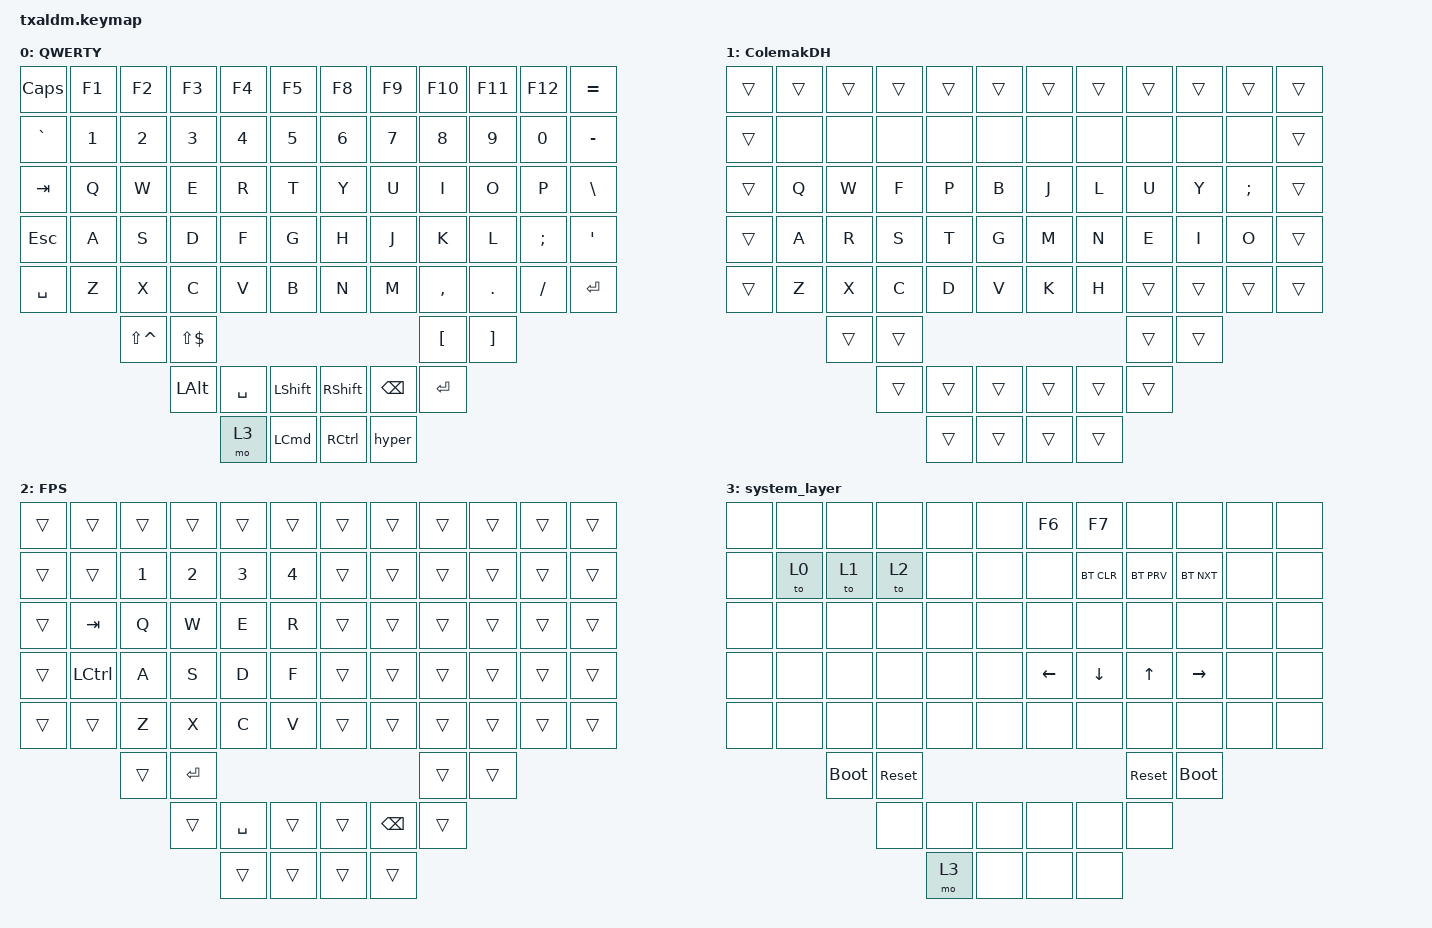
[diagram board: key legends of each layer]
/*
 * Copyright (c) 2020 The ZMK Contributors
 *
 * SPDX-License-Identifier: MIT
 */

#include <behaviors.dtsi>
#include <dt-bindings/zmk/keys.h>
#include <dt-bindings/zmk/bt.h>

/* &lt {*/
/*     tapping-term-ms = <175>; */
/* }; */

/ {
    macros {
        hyper: hyper {
            compatible = "zmk,behavior-macro";
            label = "HYPER";
            #binding-cells = <0>;
            bindings = <&kp LALT &kp LCTRL &kp LEFT_CONTROL>;
        };
    };

    keymap {
        compatible = "zmk,keymap";

        QWERTY {
            bindings = <
&kp CAPSLOCK  &kp F1         &kp F2        &kp F3     &kp F4            &kp F5           &kp F8         &kp F9           &kp F10            &kp F11       &kp F12  &kp EQUAL
   &kp GRAVE  &kp N1         &kp N2        &kp N3     &kp N4            &kp N5           &kp N6         &kp N7            &kp N8             &kp N9  &kp NUMBER_0  &kp MINUS
     &kp TAB   &kp Q          &kp W         &kp E      &kp R             &kp T            &kp Y          &kp U             &kp I              &kp O         &kp P   &kp BSLH
     &kp ESC   &kp A          &kp S         &kp D      &kp F             &kp G            &kp H          &kp J             &kp K              &kp L      &kp SEMI   &kp APOS
   &kp SPACE   &kp Z          &kp X         &kp C      &kp V             &kp B            &kp N          &kp M         &kp COMMA            &kp DOT     &kp SLASH  &kp ENTER
                      &kp LS(CARET)  &kp LS(DLLR)                                                               &kp LEFT_BRACKET  &kp RIGHT_BRACKET
                                     &kp LEFT_ALT  &kp SPACE    &kp LEFT_SHIFT  &kp RIGHT_SHIFT  &kp BACKSPACE         &kp ENTER
                                                       &mo 3  &kp LEFT_COMMAND        &kp RCTRL         &hyper
            >;
        };

        ColemakDH {
            bindings = <
&trans  &trans  &trans  &trans  &trans  &trans  &trans  &trans  &trans  &trans    &trans  &trans
&trans   &none   &none   &none   &none   &none   &none   &none   &none   &none     &none  &trans
&trans   &kp Q   &kp W   &kp F   &kp P   &kp B   &kp J   &kp L   &kp U   &kp Y  &kp SEMI  &trans
&trans   &kp A   &kp R   &kp S   &kp T   &kp G   &kp M   &kp N   &kp E   &kp I     &kp O  &trans
&trans   &kp Z   &kp X   &kp C   &kp D   &kp V   &kp K   &kp H  &trans  &trans    &trans  &trans
                &trans  &trans                                  &trans  &trans
                        &trans  &trans  &trans  &trans  &trans  &trans
                                &trans  &trans  &trans  &trans
            >;
        };

        FPS {
            bindings = <
&trans            &trans  &trans   &trans     &trans  &trans  &trans    &trans  &trans  &trans  &trans  &trans
&trans            &trans  &kp N1   &kp N2     &kp N3  &kp N4  &trans    &trans  &trans  &trans  &trans  &trans
&trans           &kp TAB   &kp Q    &kp W      &kp E   &kp R  &trans    &trans  &trans  &trans  &trans  &trans
&trans  &kp LEFT_CONTROL   &kp A    &kp S      &kp D   &kp F  &trans    &trans  &trans  &trans  &trans  &trans
&trans            &trans   &kp Z    &kp X      &kp C   &kp V  &trans    &trans  &trans  &trans  &trans  &trans
                          &trans  &kp RET                                       &trans  &trans
                                   &trans  &kp SPACE  &trans  &trans  &kp BSPC  &trans
                                              &trans  &trans  &trans    &trans
            >;
        };

        system_layer {
            bindings = <
&none  &none        &none       &none  &none  &none    &kp F6      &kp F7       &none        &none  &none  &none
&none  &to 0        &to 1       &to 2  &none  &none     &none  &bt BT_CLR  &bt BT_PRV   &bt BT_NXT  &none  &none
&none  &none        &none       &none  &none  &none     &none       &none       &none        &none  &none  &none
&none  &none        &none       &none  &none  &none  &kp LEFT    &kp DOWN      &kp UP    &kp RIGHT  &none  &none
&none  &none        &none       &none  &none  &none     &none       &none       &none        &none  &none  &none
              &bootloader  &sys_reset                                      &sys_reset  &bootloader
                                &none  &none  &none     &none       &none       &none
                                       &mo 3  &none     &none       &none
            >;
        };

        // Numbers and punctuations each on separate row
        // num_punc_layer {
        //     bindings = <
        //         &kp EXCL      &kp AT  &kp HASH  &kp DLLR     &kp PRCNT        &kp CARET        &kp AMPS     &kp STAR  &kp LPAR  &kp RPAR
        //         &lp LCTRL N1  &kp N2  &kp N3    &ht LGUI N4  &kp N5           &kp N6           &ht LGUI N7  &kp N8    &kp N9    &ht LCTRL N0
        //         &kp LSFT      &none   &none     &none        &none            &none            &none        &trans    &trans    &trans
        //                                         &mo 4        &trans           &thm LALT SPACE  &trans
        //         >;
        // };
        // nav_sys_layer {
        //     bindings = <
        //         &ht LGUI F9   &kp F10  &kp F11  &kp F12  &kp PSCRN        &kp HOME    &kp PG_DN     &kp PG_UP     &kp END       &kp LGUI
        //         &lp LCTRL F5  &kp F6   &kp F7   &kp F8   &none            &kp LEFT    &kp DOWN      &kp UP        &kp RIGHT     &kp LCTRL
        //         &ht LSFT F1   &kp F2   &kp F3   &kp F4   &tog 3           &kp C_MUTE  &kp C_VOL_DN  &kp C_VOL_UP  &none         &kp LSFT
        //                                         &tog 2   &trans           &trans      &trans
        //         >;
        // };
        // nav_numpad_layer {
        //     bindings = <
        //         &none    &kp HOME  &kp UP    &kp PG_UP  &none            &kp FSLH  &kp N7  &kp N8  &kp N9  &kp MINUS
        //         &kp END  &kp LEFT  &kp DOWN  &kp RIGHT  &kp PG_DN        &kp STAR  &kp N4  &kp N5  &kp N6  &kp PLUS
        //         &none    &none     &none     &none      &tog 3           &kp N0    &kp N1  &kp N2  &kp N3  &kp DOT
        //                                      &mo 4      &trans           &kp BSPC  &none
        //         >;
        // };
        // adj_layer {
        //     bindings = <
        //         &none         &none         &none         &none         &bt BT_CLR          &none   &none   &none  &none  &none
        //         &bt BT_SEL 0  &bt BT_SEL 1  &bt BT_SEL 2  &bt BT_SEL 3  &bt BT_SEL 4        &none   &none   &none  &none  &none
        //         &none         &none         &none         &none         &none               &none   &none   &none  &none  &none
        //                                                   &mo 4         &bootloader         &none   &bootloader
        //         >;
        // };
    };

    // combos {
    //     compatible = "zmk,combos";
    //     // Punctuation
    //     combo_equal {
    //         timeout-ms = <50>;
    //         key-positions = <0 1>;
    //         layers = <0 1>;
    //         bindings = <&kp EQUAL>;
    //     };
    //     combo_plus {
    //         timeout-ms = <50>;
    //         key-positions = <1 12>;
    //         layers = <0 1>;
    //         bindings = <&kp PLUS>;
    //     };
    //     combo_minus {
    //         timeout-ms = <50>;
    //         key-positions = <8 9>;
    //         layers = <0 1>;
    //         bindings = <&kp MINUS>;
    //     };
    //     combo_under_score {
    //         timeout-ms = <50>;
    //         key-positions = <8 17>;
    //         layers = <0 1>;
    //         bindings = <&kp UNDER>;
    //     };
    //     combo_left_bracket {
    //         timeout-ms = <50>;
    //         key-positions = <2 13>;
    //         layers = <0>;
    //         bindings = <&kp LBKT>;
    //     };
    //     combo_left_brace {
    //         timeout-ms = <50>;
    //         key-positions = <3 14>;
    //         layers = <0>;
    //         bindings = <&kp LBRC>;
    //     };
    //     combo_right_brace {
    //         timeout-ms = <50>;
    //         key-positions = <6 15>;
    //         layers = <0>;
    //         bindings = <&kp RBRC>;
    //     };
    //     combo_right_bracket {
    //         timeout-ms = <50>;
    //         key-positions = <7 16>;
    //         layers = <0>;
    //         bindings = <&kp RBKT>;
    //     };
    //     combo_tilde {
    //         timeout-ms = <50>;
    //         key-positions = <20 21>;
    //         layers = <0>;
    //         bindings = <&kp TILDE>;
    //     };
    //     combo_tilde_alt {
    //         timeout-ms = <50>;
    //         key-positions = <21 23>;
    //         layers = <0>;
    //         bindings = <&kp TILDE>;
    //     };
    //     combo_grave {
    //         timeout-ms = <50>;
    //         key-positions = <21 22>;
    //         layers = <0>;
    //         bindings = <&kp GRAVE>;
    //     };
    //     combo_back_slash {
    //         timeout-ms = <50>;
    //         key-positions = <27 28>;
    //         layers = <0>;
    //         bindings = <&kp BSLH>;
    //     };
    //     combo_pipe {
    //         timeout-ms = <50>;
    //         key-positions = <28 29>;
    //         layers = <0>;
    //         bindings = <&kp PIPE>;
    //     };
    //     combo_pipe_alt {
    //         timeout-ms = <50>;
    //         key-positions = <26 28>;
    //         layers = <0>;
    //         bindings = <&kp PIPE>;
    //     };
    //     combo_single_quote {
    //         timeout-ms = <50>;
    //         key-positions = <7 8>;
    //         layers = <0>;
    //         bindings = <&kp SQT>;
    //     };
    //     combo_double_quote {
    //         timeout-ms = <50>;
    //         key-positions = <18 19>;
    //         layers = <0>;
    //         bindings = <&kp DQT>;
    //     };
    //     // Control
    //     combo_enter {
    //         timeout-ms = <50>;
    //         key-positions = <17 18>;
    //         layers = <0 1 3>;
    //         bindings = <&kp ENTER>;
    //     };
    //     combo_caps {
    //         timeout-ms = <50>;
    //         key-positions = <11 12>;
    //         layers = <0>;
    //         bindings = <&kp CAPS>;
    //     };
    //     combo_esc {
    //         timeout-ms = <50>;
    //         key-positions = <1 2>;
    //         layers = <0 1 2 3>;
    //         bindings = <&kp ESC>;
    //     };
    //     combo_esc_clear {
    //         timeout-ms = <50>;
    //         key-positions = <7 8>;
    //         layers = <3>;
    //         bindings = <&kp ESC>;
    //     };
    //     combo_del {
    //         timeout-ms = <50>;
    //         key-positions = <30 31>;
    //         layers = <0 1>;
    //         bindings = <&kp DEL>;
    //     };
    //     combo_L2 {
    //         timeout-ms = <50>;
    //         key-positions = <16 17 18>;
    //         layers = <0 2>;
    //         bindings = <&tog 2>;
    //     };
    //     combo_L3 {
    //         timeout-ms = <50>;
    //         /* key-positions = <11 12 13>; */
    //         key-positions = <25 26 27>;
    //         layers = <0 3>;
    //         bindings = <&tog 3>;
    //     };
    //     combo_bootloader_left {
    //         timeout-ms = <50>;
    //         key-positions = <1 2>;
    //         layers = <4>;
    //         bindings = <&bootloader>;
    //     };
    //     combo_bootloader_right {
    //         timeout-ms = <50>;
    //         key-positions = <7 8>;
    //         layers = <4>;
    //         bindings = <&bootloader>;
    //     };
    // };
};
